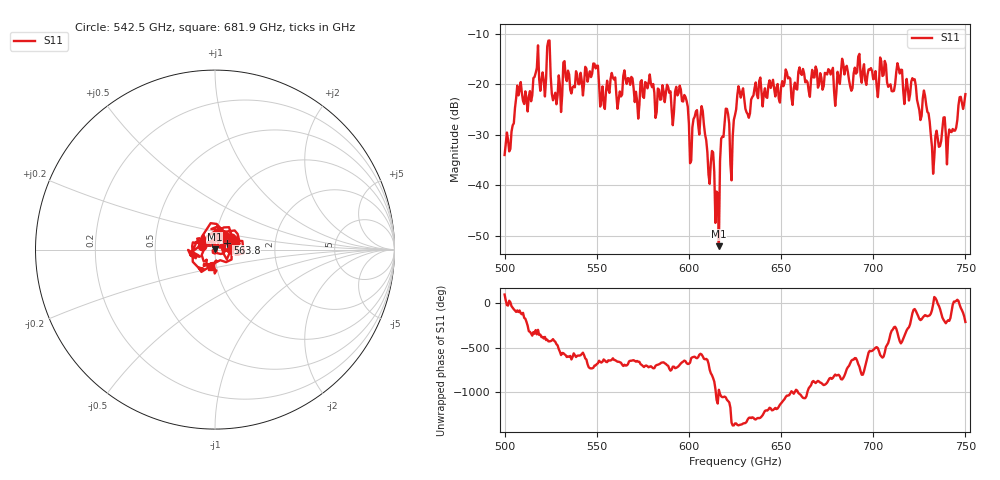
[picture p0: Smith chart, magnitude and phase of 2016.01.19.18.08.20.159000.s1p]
!Created with skrf (http://scikit-rf.org).
# GHz S RI R 50.0
!freq ReS11 ImS11
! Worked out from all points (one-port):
!   401 points, 500 GHz to 750 GHz, reference 50 ohm
!   lowest |S11| = -52.1 dB at 616.2 GHz (marker M1), VSWR 1.00, Z = 49.9 + j0.24 ohm
!   |S11| at or under -10 dB: start of sweep to end of sweep
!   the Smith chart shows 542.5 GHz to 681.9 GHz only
!   S11 on the Smith chart (normalised r, x): 542.5 GHz: 0.86, +0.04; 563.8 GHz: 1.14, +0.09; 681.9 GHz: 0.94, -0.19
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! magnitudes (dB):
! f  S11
! 500 GHz  -34.0
! 507.5 GHz  -22.2
! 513.8 GHz  -21.3
! 516.9 GHz  -17.7
! 531.2 GHz  -22.1
! 542.5 GHz  -22.2
! 549.4 GHz  -16.8
! 562.5 GHz  -21.4
! 563.8 GHz  -22.0
! 593.8 GHz  -22.2
! 601.2 GHz  -35.1
! 607.5 GHz  -25.3
! 615 GHz  -41.3
! 616.2 GHz  -52.1
! 619.4 GHz  -27.5
! 623.1 GHz  -39.0
! 625 GHz  -26.1
! 628.1 GHz  -22.6
! 631.9 GHz  -25.9
! 637.5 GHz  -22.7
! 656.2 GHz  -24.1
! 681.9 GHz  -19.9
! 687.5 GHz  -20.4
! 705 GHz  -18.3
! 718.8 GHz  -20.8
! 728.1 GHz  -22.3
! 732.5 GHz  -37.7
! 750 GHz  -21.9
